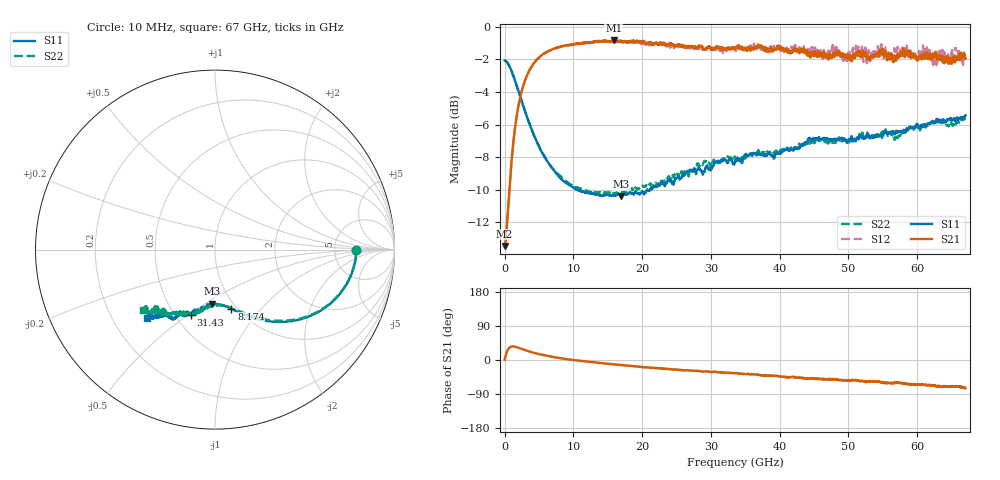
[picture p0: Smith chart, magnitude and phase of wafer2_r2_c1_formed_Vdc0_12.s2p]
!Keysight Technologies,N5227A,US51270248,A.10.65.08
!Date: Tuesday, June 11, 2024 06:53:10
!Correction: S11(Full 2 Port(1,4))
!S41(Full 2 Port(1,4))
!S14(Full 2 Port(1,4))
!S44(Full 2 Port(1,4))
!S2P File: Measurements: S11, S41, S14, S44:
# Hz S  dB  R 50
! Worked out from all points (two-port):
!   3201 points, 10 MHz to 67 GHz, reference 50 ohm
!   highest |S21| = -0.85 dB at 15.88 GHz (marker M1); lowest = -13.4 dB at 10 MHz (marker M2)
!   |S21| within 3 dB of the highest: 2.561 GHz to end of sweep
!   lowest |S11| = -10.4 dB at 16.99 GHz (marker M3), VSWR 1.87, Z = 40.4 - j26.8 ohm
!   |S11| at or under -10 dB: 10.56 GHz to 20.69 GHz (10.13 GHz wide, 64.8 % of centre); 20.75 GHz to 21.13 GHz (385.3 MHz wide, 1.84 % of centre)
!   |S22| runs from -10.2 to -2.1 dB; largest |S21 - S12| = 0.089
!   S11 on the Smith chart (normalised r, x): 10 MHz: 8.41, -0.15; 8.174 GHz: 0.94, -0.71; 31.43 GHz: 0.60, -0.51; 67 GHz: 0.35, -0.37
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1e7  -2.07 -0.3  -13.44 0.8  -13.46 0.8  -2.07 -0.2
1.307931e9  -3.04 -25.9  -6.97 35.8  -6.96 35.6  -3.05 -25.6
2.647731e9  -4.78 -43.8  -3.71 28.3  -3.72 28.2  -4.78 -43.0
4.950512e9  -7.31 -61.5  -1.91 15.8  -1.94 15.6  -7.27 -59.9
8.174406e9  -9.31 -74.6  -1.21 4.7  -1.25 4.5  -9.18 -72.6
1.118896e10  -10.10 -82.3  -1.01 -2.3  -1.05 -2.5  -9.95 -80.8
1.587826e10  -10.35 -91.9  -0.85 -11.5  -0.92 -11.2  -10.23 -91.0
1.698778e10  -10.40 -93.1  -0.89 -13.7  -0.96 -13.4  -10.22 -92.1
2.234698e10  -9.72 -99.0  -1.07 -21.5  -1.05 -21.3  -9.71 -100.1
3.14325e10  -8.21 -110.4  -1.40 -33.1  -1.34 -31.7  -8.09 -112.6
3.3505e10  -8.25 -112.6  -1.34 -34.5  -1.42 -34.7  -7.96 -116.5
4.468396e10  -6.94 -122.6  -1.61 -48.8  -1.30 -48.1  -7.02 -125.8
5.012689e10  -6.99 -126.9  -1.91 -53.6  -1.57 -53.0  -7.04 -130.0
5.173884e10  -6.70 -127.3  -1.78 -56.6  -1.84 -54.5  -6.74 -131.1
5.297397e10  -6.71 -129.5  -1.91 -57.4  -1.51 -57.0  -6.66 -133.8
5.460685e10  -6.68 -129.4  -1.45 -57.8  -1.81 -56.6  -6.54 -133.1
5.584198e10  -6.49 -129.3  -1.70 -59.9  -1.80 -60.3  -6.69 -135.2
5.730738e10  -6.43 -130.0  -1.90 -60.4  -1.66 -60.9  -6.69 -133.6
6.153613e10  -5.96 -131.5  -1.99 -67.2  -1.68 -68.1  -6.06 -136.1
6.264565e10  -5.81 -131.6  -1.62 -67.0  -1.90 -68.2  -5.80 -137.8
6.375517e10  -5.73 -133.9  -1.86 -70.4  -1.64 -70.3  -5.86 -140.0
6.7e10  -5.43 -134.9  -1.95 -74.1  -2.20 -74.9  -5.64 -140.2
